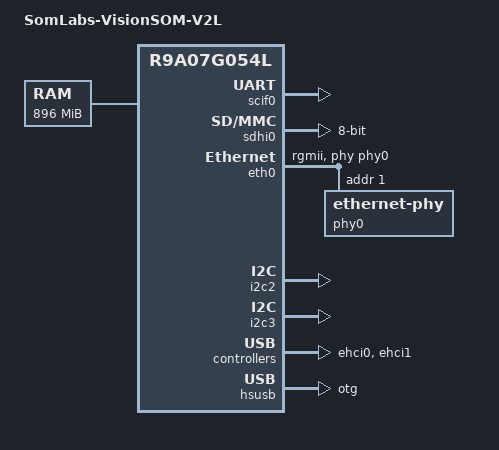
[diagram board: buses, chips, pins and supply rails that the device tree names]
// SPDX-License-Identifier: GPL-2.0
/*
 * Device Tree Source for VisionSOM-V2L board
 *
 * Copyright (C) 2023 Somlabs
 */

/dts-v1/;
#include <dt-bindings/gpio/gpio.h>
#include "r9a07g054l.dtsi"
#include "r9a07g054l-u-boot.dtsi"
#include <dt-bindings/pinctrl/rzv2l-pinctrl.h>

/ {
	model = "SomLabs-VisionSOM-V2L";
	compatible = "renesas,r9a07g054l", "renesas,rzv2l";

	aliases {
		serial0 = &scif0;
	};

	chosen {
		stdout-path = "serial0:115200n8";
	};

	memory@48000000 {
		device_type = "memory";
		/* first 128MB is reserved for secure area. */
		reg = <0 0x48000000 0 0x38000000>;
	};

};

&pinctrl {
	eth0_pins: eth0 {
		pinmux = <RZV2L_PINMUX(20, 0, 1)>,
				<RZV2L_PINMUX(20, 1, 1)>,
				<RZV2L_PINMUX(20, 2, 1)>,
				<RZV2L_PINMUX(21, 0, 1)>,
				<RZV2L_PINMUX(21, 1, 1)>,
				<RZV2L_PINMUX(22, 0, 1)>,
				<RZV2L_PINMUX(22, 1, 1)>,
				<RZV2L_PINMUX(23, 0, 1)>,
				<RZV2L_PINMUX(23, 1, 1)>,
				<RZV2L_PINMUX(24, 0, 1)>,
				<RZV2L_PINMUX(24, 1, 1)>,
				<RZV2L_PINMUX(25, 0, 1)>,
				<RZV2L_PINMUX(25, 1, 1)>,
				<RZV2L_PINMUX(26, 0, 1)>,
				<RZV2L_PINMUX(26, 1, 1)>,
				<RZV2L_PINMUX(27, 0, 1)>,
				<RZV2L_PINMUX(27, 1, 1)>,
				<RZV2L_PINMUX(28, 0, 1)>,
				<RZV2L_PINMUX(28, 1, 1)>;
	};

	i2c2_pins: i2c2 {
		pinmux = <RZV2L_PINMUX(42, 3, 1)>, /* SDA */
				 <RZV2L_PINMUX(42, 4, 1)>; /* SCL */
	};

	i2c3_pins: i2c3 {
		pinmux = <RZV2L_PINMUX(46, 2, 4)>, /* SDA */
				 <RZV2L_PINMUX(46, 3, 4)>; /* SCL */
	};

};

&xinclk {
        clock-frequency = <24000000>;
};

&scif0 {
	status = "okay";
	clock = <100000000>;
};

&sdhi0 {
	bus-width = <8>;
	status = "okay";
};

&eth0 {
	pinctrl-names = "default";
	pinctrl-0 = <&eth0_pins>;
	status = "okay";

	phy-handle = <&phy0>;
	phy-mode = "rgmii";
	phy0: ethernet-phy@1 {
		reg = <1>;
	};
};

&i2c2 {
	pinctrl-names = "default";
	pinctrl-0 = <&i2c2_pins>;
	status = "okay";
};

&i2c3 {
	pinctrl-names = "default";
	pinctrl-0 = <&i2c3_pins>;
	status = "okay";
};

&ehci0 {
	status = "okay";
};

&ehci1 {
	status = "okay";
};

&hsusb {
        dr_mode = "otg";
        status = "okay";
};

&hsusb {
        dr_mode = "otg";
        status = "okay";
};
